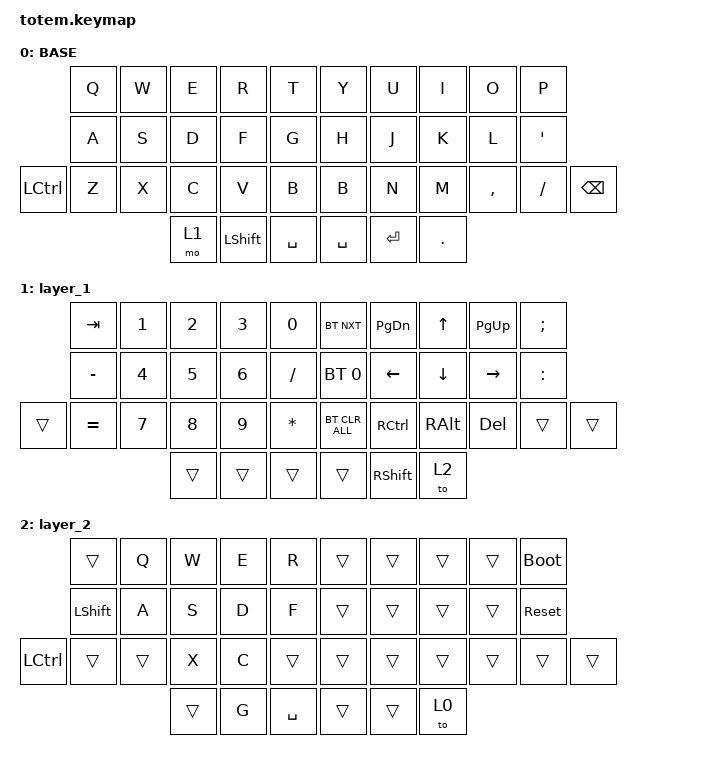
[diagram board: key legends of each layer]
//
//                                                        ▀▀▀▀▀     ▀▀▀▀▀          ▀▀█▀▀
//                                                        ▄▀▀▀▄  ▄  ▄▀▀▀▄  ▄  ▄▀▀▀▄  █  ▄▀▀▀▄
//                                                        █   █  █  █   █  █  █   █  █  █   █
//                                                         ▀▀▀   █   ▀▀▀   █   ▀▀▀   ▀   ▀▀▀
//                                                               █      ▄▄▄█▄▄▄    █   █  
//                                                               ▀      █  █  █     █▄█
//                                                             ▀▀▀▀▀    █  █  █      ▀
//                                                                      ▀  ▀  ▀
//
// ▄▄▄▄▄▄▄▄▄▄▄▄▄▄▄▄▄▄▄▄▄▄▄▄▄▄▄▄▄▄▄▄▄▄▄▄▄▄▄▄▄▄▄▄▄▄▄▄▄▄▄▄▄▄▄▄▄▄▄▄▄▄▄▄▄▄▄▄▄▄▄▄▄▄▄▄▄▄▄▄▄▄▄▄▄▄▄▄▄▄▄▄▄▄▄▄▄▄▄▄▄▄▄▄▄▄▄▄▄▄▄▄▄▄▄▄▄▄▄▄▄▄▄▄▄▄▄▄▄▄▄▄▄▄▄▄▄▄▄▄▄▄▄▄▄▄▄▄▄

#include <behaviors.dtsi>
#include <dt-bindings/zmk/bt.h>
#include <dt-bindings/zmk/keys.h>

#define BASE 0
#define NAV  1
#define SYM  2
#define ADJ  3
#define TVP1 4
#define TVP2 5

&mt {
    quick-tap-ms = <100>;
    global-quick-tap;
    flavor = "tap-preferred";
    tapping-term-ms = <170>;
};

/ {
    combos {
        compatible = "zmk,combos";

        combo_esc {
            timeout-ms = <50>;
            key-positions = <0 1>;
            bindings = <&kp ESC>;
        };

        combo_tvp {
            timeout-ms = <100>;
            key-positions = <11 12 13>;
            bindings = <&tog 0>;
        };
    };

    macros {
        gif: gif {
            label = "giphy";
            compatible = "zmk,behavior-macro";
            #binding-cells = <0>;
            bindings =
                <&macro_press>,
                <&kp LSHFT>,
                <&macro_tap>,
                <&kp N2>,
                <&macro_release>,
                <&kp LSHFT>,
                <&macro_tap>,
                <&kp G &kp I &kp F>;
        };
    };

    keymap {
        compatible = "zmk,keymap";

        // ▄▄▄▄▄▄▄▄▄▄▄▄▄▄▄▄▄▄▄▄▄▄▄▄▄▄▄▄▄▄▄▄▄▄▄▄▄▄▄▄▄▄▄▄▄▄▄▄▄▄▄▄▄▄▄▄▄▄▄▄▄▄▄▄▄▄▄▄▄▄▄▄▄▄▄▄▄▄▄▄▄▄▄▄▄▄▄▄▄▄▄▄▄▄▄▄▄▄▄▄▄▄▄▄▄▄▄▄▄▄▄▄▄▄▄▄▄▄▄▄▄▄▄▄▄▄▄▄▄▄▄▄▄▄▄▄▄▄▄▄▄▄▄▄▄▄▄▄▄

        base_layer {
            // ┏━━━━━━━━━━━━━━━━━━━━━━━━━━━━━━━━━━━━━━━┓

            label = "BASE";

            // ┗━━━━━━━━━━━━━━━━━━━━━━━━━━━━━━━━━━━━━━━┛
            //             ┏━━━━━━━━━━━┳━━━━━━━━━━━┳━━━━━━━━━━━┳━━━━━━━━━━━┳━━━━━━━━━━━┓   ┏━━━━━━━━━━━┳━━━━━━━━━━━┳━━━━━━━━━━━┳━━━━━━━━━━━┳━━━━━━━━━━━┓
            //             ┃     Q     ┃     W     ┃     F     ┃     P     ┃     G     ┃   ┃     J     ┃     L     ┃     U     ┃     Y     ┃     ;     ┃
            //             ┣━━━━━━━━━━━╋━━━━━━━━━━━╋━━━━━━━━━━━╋━━━━━━━━━━━╋━━━━━━━━━━━┫   ┣━━━━━━━━━━━╋━━━━━━━━━━━╋━━━━━━━━━━━╋━━━━━━━━━━━╋━━━━━━━━━━━┫
            //             ┃     A     ┃     R     ┃     S     ┃     T     ┃     D     ┃   ┃     H     ┃     N     ┃     E     ┃     I     ┃     O     ┃
            // ┏━━━━━━━━━━━╋━━━━━━━━━━━╋━━━━━━━━━━━╋━━━━━━━━━━━╋━━━━━━━━━━━╋━━━━━━━━━━━┫   ┣━━━━━━━━━━━╋━━━━━━━━━━━╋━━━━━━━━━━━╋━━━━━━━━━━━╋━━━━━━━━━━━╋━━━━━━━━━━━┓
            // ┃     Q     ┃     Z     ┃     X     ┃     C     ┃     V     ┃     B     ┃   ┃     K     ┃     M     ┃     ,     ┃     .     ┃     /     ┃     \     ┃
            // ┗━━━━━━━━━━━┻━━━━━━━━━━━┻━━━━━━━━━━━╋━━━━━━━━━━━╋━━━━━━━━━━━╋━━━━━━━━━━━┫   ┣━━━━━━━━━━━╋━━━━━━━━━━━╋━━━━━━━━━━━╋━━━━━━━━━━━┻━━━━━━━━━━━┻━━━━━━━━━━━┛
            //                                     ┃    DEL    ┃    TAB    ┃    SPC    ┃   ┃   ENTER   ┃           ┃   BSPC    ┃
            //                                     ┗━━━━━━━━━━━┻━━━━━━━━━━━┻━━━━━━━━━━━┛   ┗━━━━━━━━━━━┻━━━━━━━━━━━┻━━━━━━━━━━━┛

            bindings = <
                  &kp Q  &kp W  &kp E  &kp R           &kp T        &kp Y      &kp U      &kp I       &kp O      &kp P
                  &kp A  &kp S  &kp D  &kp F           &kp G        &kp H      &kp J      &kp K       &kp L      &kp SQT
&kp LEFT_CONTROL  &kp Z  &kp X  &kp C  &kp V           &kp B        &kp B      &kp N      &kp M       &kp COMMA  &kp SLASH  &kp BACKSPACE
                                &mo 1  &kp LEFT_SHIFT  &kp SPACE    &kp SPACE  &kp ENTER  &kp PERIOD
            >;
        };

        // ▄▄▄▄▄▄▄▄▄▄▄▄▄▄▄▄▄▄▄▄▄▄▄▄▄▄▄▄▄▄▄▄▄▄▄▄▄▄▄▄▄▄▄▄▄▄▄▄▄▄▄▄▄▄▄▄▄▄▄▄▄▄▄▄▄▄▄▄▄▄▄▄▄▄▄▄▄▄▄▄▄▄▄▄▄▄▄▄▄▄▄▄▄▄▄▄▄▄▄▄▄▄▄▄▄▄▄▄▄▄▄▄▄▄▄▄▄▄▄▄▄▄▄▄▄▄▄▄▄▄▄▄▄▄▄▄▄▄▄▄▄▄▄▄▄▄▄▄▄
        // ▄▄▄▄▄▄▄▄▄▄▄▄▄▄▄▄▄▄▄▄▄▄▄▄▄▄▄▄▄▄▄▄▄▄▄▄▄▄▄▄▄▄▄▄▄▄▄▄▄▄▄▄▄▄▄▄▄▄▄▄▄▄▄▄▄▄▄▄▄▄▄▄▄▄▄▄▄▄▄▄▄▄▄▄▄▄▄▄▄▄▄▄▄▄▄▄▄▄▄▄▄▄▄▄▄▄▄▄▄▄▄▄▄▄▄▄▄▄▄▄▄▄▄▄▄▄▄▄▄▄▄▄▄▄▄▄▄▄▄▄▄▄▄▄▄▄▄▄▄
        // ▄▄▄▄▄▄▄▄▄▄▄▄▄▄▄▄▄▄▄▄▄▄▄▄▄▄▄▄▄▄▄▄▄▄▄▄▄▄▄▄▄▄▄▄▄▄▄▄▄▄▄▄▄▄▄▄▄▄▄▄▄▄▄▄▄▄▄▄▄▄▄▄▄▄▄▄▄▄▄▄▄▄▄▄▄▄▄▄▄▄▄▄▄▄▄▄▄▄▄▄▄▄▄▄▄▄▄▄▄▄▄▄▄▄▄▄▄▄▄▄▄▄▄▄▄▄▄▄▄▄▄▄▄▄▄▄▄▄▄▄▄▄▄▄▄▄▄▄▄
        // ▄▄▄▄▄▄▄▄▄▄▄▄▄▄▄▄▄▄▄▄▄▄▄▄▄▄▄▄▄▄▄▄▄▄▄▄▄▄▄▄▄▄▄▄▄▄▄▄▄▄▄▄▄▄▄▄▄▄▄▄▄▄▄▄▄▄▄▄▄▄▄▄▄▄▄▄▄▄▄▄▄▄▄▄▄▄▄▄▄▄▄▄▄▄▄▄▄▄▄▄▄▄▄▄▄▄▄▄▄▄▄▄▄▄▄▄▄▄▄▄▄▄▄▄▄▄▄▄▄▄▄▄▄▄▄▄▄▄▄▄▄▄▄▄▄▄▄▄▄
        // ▄▄▄▄▄▄▄▄▄▄▄▄▄▄▄▄▄▄▄▄▄▄▄▄▄▄▄▄▄▄▄▄▄▄▄▄▄▄▄▄▄▄▄▄▄▄▄▄▄▄▄▄▄▄▄▄▄▄▄▄▄▄▄▄▄▄▄▄▄▄▄▄▄▄▄▄▄▄▄▄▄▄▄▄▄▄▄▄▄▄▄▄▄▄▄▄▄▄▄▄▄▄▄▄▄▄▄▄▄▄▄▄▄▄▄▄▄▄▄▄▄▄▄▄▄▄▄▄▄▄▄▄▄▄▄▄▄▄▄▄▄▄▄▄▄▄▄▄▄

        layer_1 {
            bindings = <
        &kp TAB    &kp NUMBER_1  &kp NUMBER_2  &kp NUMBER_3  &kp N0          &bt BT_NXT      &kp PAGE_DOWN    &kp UP_ARROW   &kp PG_UP        &kp SEMI
        &kp MINUS  &kp NUMBER_4  &kp N5        &kp NUMBER_6  &kp SLASH       &bt BT_SEL 0    &kp LEFT         &kp DOWN       &kp RIGHT_ARROW  &kp COLON
&trans  &kp EQUAL  &kp N7        &kp N8        &kp N9        &kp ASTERISK    &bt BT_CLR_ALL  &kp RCTRL        &kp RIGHT_ALT  &kp DELETE       &trans     &trans
                                 &trans        &trans        &trans          &trans          &kp RIGHT_SHIFT  &to 2
            >;
        };

        layer_2 {
            bindings = <
                  &trans          &kp Q   &kp W   &kp E  &kp R        &trans  &trans  &trans  &trans  &bootloader
                  &kp LEFT_SHIFT  &kp A   &kp S   &kp D  &kp F        &trans  &trans  &trans  &trans  &sys_reset
&kp LEFT_CONTROL  &trans          &trans  &kp X   &kp C  &trans       &trans  &trans  &trans  &trans  &trans       &trans
                                          &trans  &kp G  &kp SPACE    &trans  &trans  &to 0
            >;
        };
    };
};
